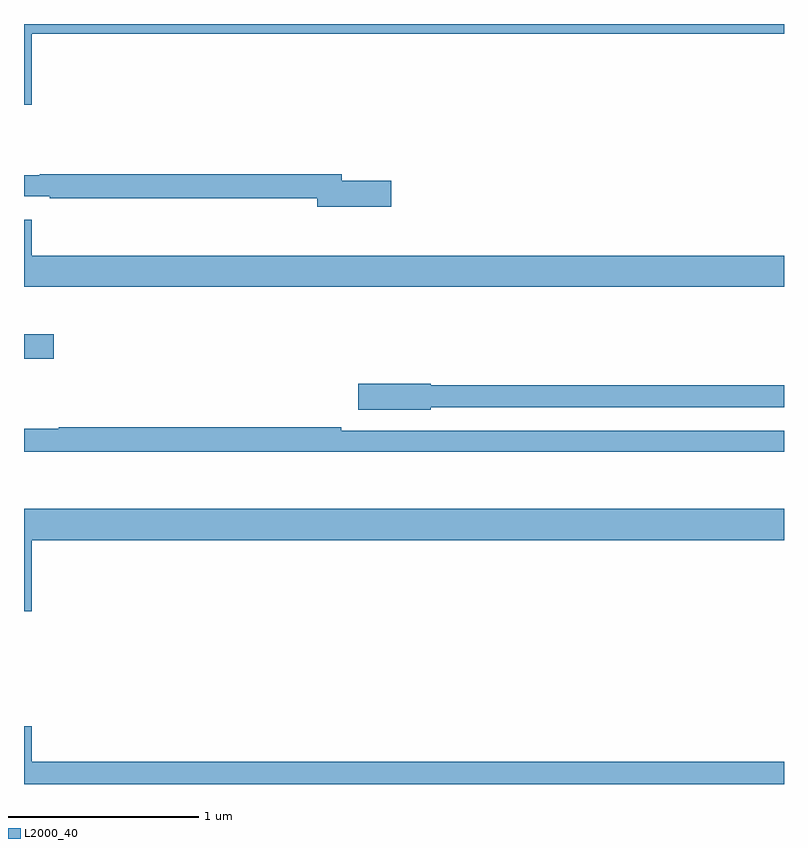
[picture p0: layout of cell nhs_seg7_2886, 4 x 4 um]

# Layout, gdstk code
import gdstk
lib = gdstk.Library(unit=1e-6, precision=1e-09)
def R(c, l, rs):  # rectangles x0, y0, x1, y1
    for r in rs: c.add(gdstk.rectangle(r[:2], r[2:], *l))
def P(c, l, *ps):  # polygons
    for p in ps: c.add(gdstk.Polygon(p, *l))
L2000_40 = (2000, 40)

nhs_seg7_2886 = lib.new_cell('nhs_seg7_2886')
R(nhs_seg7_2886, L2000_40, [(297,1000.237,297.157,1000.366)])
P(nhs_seg7_2886, L2000_40, [(297.04,1001.948),(301,1001.948),(301,1002),(297,1002),(297,1001.574),(297.04,1001.574)],
  [(298.933,1001.174),(298.672,1001.174),(298.672,1001.21),(297.082,1001.21),(297.082,1001.203),(297,1001.203),(297,1001.094),(297.136,1001.094),(297.136,1001.082),(298.544,1001.082),(298.544,1001.039),(298.933,1001.039)],
  [(301,1000.78),(297.04,1000.78),(297.04,1000.969),(297,1000.969),(297,1000.616),(301,1000.616)],
  [(299.142,999.984),(301,999.984),(301,1000.1),(299.142,1000.1),(299.142,1000.106),(298.758,1000.106),(298.758,999.971),(299.142,999.971)],
  [(301,999.858),(298.67,999.858),(298.67,999.878),(297.182,999.878),(297.182,999.871),(297,999.871),(297,999.75),(301,999.75)],
  [(297.04,999.284),(301,999.284),(301,999.448),(297,999.448),(297,998.91),(297.04,998.91)],
  [(301,998.116),(297.04,998.116),(297.04,998.305),(297,998.305),(297,998),(301,998)])

lib.write_gds('nhs_seg7_2886.gds')
